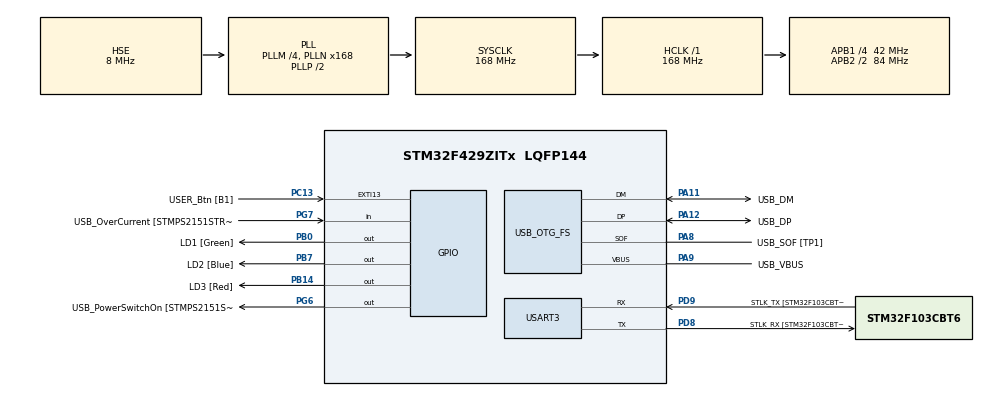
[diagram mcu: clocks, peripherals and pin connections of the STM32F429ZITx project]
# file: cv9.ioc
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Mcu.Family=STM32F4
Mcu.Name=STM32F429ZITx
Mcu.Package=LQFP144
NVIC.OTG_FS_IRQn=true\:0\:0\:false\:false\:true\:false\:true\:true
NVIC.PriorityGroup=NVIC_PRIORITYGROUP_4
PA1.GPIO_Label=RMII_REF_CLK [LAN8742A-CZ-TR_REFCLK0]
PA1.Signal=ETH_REF_CLK
PA10.GPIO_Label=USB_ID
PA10.Signal=USB_OTG_FS_ID
PA11.GPIO_Label=USB_DM
PA11.Mode=Device_Only
PA11.Signal=USB_OTG_FS_DM
PA12.GPIO_Label=USB_DP
PA12.Mode=Device_Only
PA12.Signal=USB_OTG_FS_DP
PA13.GPIO_Label=TMS
PA13.Mode=Serial_Wire
PA13.Signal=SYS_JTMS-SWDIO
PA14.GPIO_Label=TCK
PA14.Mode=Serial_Wire
PA14.Signal=SYS_JTCK-SWCLK
PA2.GPIO_Label=RMII_MDIO [LAN8742A-CZ-TR_MDIO]
PA2.Signal=ETH_MDIO
PA7.GPIO_Label=RMII_CRS_DV [LAN8742A-CZ-TR_CRS_DV]
PA7.Signal=ETH_CRS_DV
PA8.GPIO_Label=USB_SOF [TP1]
PA8.Mode=Activate_SOF_FS
PA8.Signal=USB_OTG_FS_SOF
PA9.GPIO_Label=USB_VBUS
PA9.Mode=Activate_VBUS
PA9.Signal=USB_OTG_FS_VBUS
PB0.GPIO_Label=LD1 [Green]
PB0.Signal=GPIO_Output
PB13.GPIO_Label=RMII_TXD1 [LAN8742A-CZ-TR_TXD1]
PB13.Signal=ETH_TXD1
PB14.GPIO_Label=LD3 [Red]
PB14.Signal=GPIO_Output
PB7.GPIO_Label=LD2 [Blue]
PB7.Signal=GPIO_Output
PC1.GPIO_Label=RMII_MDC [LAN8742A-CZ-TR_MDC]
PC1.Signal=ETH_MDC
PC13.GPIO_Label=USER_Btn [B1]
PC13.GPIO_PuPd=GPIO_NOPULL
PC13.Signal=GPXTI13
PC14/OSC32_IN.Mode=LSE-External-Oscillator
PC14/OSC32_IN.Signal=RCC_OSC32_IN
PC15/OSC32_OUT.Mode=LSE-External-Oscillator
PC15/OSC32_OUT.Signal=RCC_OSC32_OUT
PC4.GPIO_Label=RMII_RXD0 [LAN8742A-CZ-TR_RXD0]
PC4.Signal=ETH_RXD0
PC5.GPIO_Label=RMII_RXD1 [LAN8742A-CZ-TR_RXD1]
PC5.Signal=ETH_RXD1
PD8.GPIO_Label=STLK_RX [STM32F103CBT6_PA3]
PD8.Mode=Asynchronous
PD8.Signal=USART3_TX
PD9.GPIO_Label=STLK_TX [STM32F103CBT6_PA2]
PD9.Mode=Asynchronous
PD9.Signal=USART3_RX
PG11.GPIO_Label=RMII_TX_EN [LAN8742A-CZ-TR_TXEN]
PG11.Signal=ETH_TX_EN
PG13.GPIO_Label=RMII_TXD0 [LAN8742A-CZ-TR_TXD0]
PG13.Signal=ETH_TXD0
PG6.GPIO_Label=USB_PowerSwitchOn [STMPS2151STR_EN]
PG6.Signal=GPIO_Output
PG7.GPIO_Label=USB_OverCurrent [STMPS2151STR_FAULT]
PG7.Signal=GPIO_Input
PH0/OSC_IN.GPIO_Label=MCO [STM32F103CBT6_PA8]
PH0/OSC_IN.Mode=HSE-External-Clock-Source
PH0/OSC_IN.Signal=RCC_OSC_IN
PH1/OSC_OUT.Mode=HSE-External-Clock-Source
PH1/OSC_OUT.Signal=RCC_OSC_OUT
ProjectManager.HeapSize=0x200
ProjectManager.StackSize=0x400
ProjectManager.TargetToolchain=STM32CubeIDE
RCC.48MHZClocksFreq_Value=48000000
RCC.AHBFreq_Value=168000000
RCC.APB1CLKDivider=RCC_HCLK_DIV4
RCC.APB1Freq_Value=42000000
RCC.APB1TimFreq_Value=84000000
RCC.APB2CLKDivider=RCC_HCLK_DIV2
RCC.APB2Freq_Value=84000000
RCC.APB2TimCLKDivider=2
RCC.APB2TimFreq_Value=168000000
RCC.CortexFreq_Value=168000000
RCC.HCLKFreq_Value=168000000
RCC.HSE_VALUE=8000000
RCC.HSI_VALUE=16000000
RCC.PLLM=4
RCC.PLLMUL=RCC_PLL_MUL9
RCC.PLLN=168
RCC.PLLQ=7
RCC.PRESCALERUSB=RCC_USBCLKSOURCE_PLL_DIV1_5
RCC.SYSCLKFreq_VALUE=168000000
RCC.SYSCLKSource=RCC_SYSCLKSOURCE_PLLCLK
RCC.SYSCLKSourceVirtual=RCC_SYSCLKSOURCE_PLLCLK
RCC.USBFreq_Value=48000000
RCC.VCOOutputFreq_Value=336000000
USART3.VirtualMode=VM_ASYNC
USB_DEVICE.CLASS_NAME_FS=HID
USB_DEVICE.VirtualMode-HID_FS=Hid
USB_DEVICE.VirtualModeFS=Hid_FS
USB_OTG_FS.VirtualMode=Device_Only
VP_USB_DEVICE_VS_USB_DEVICE_HID_FS.Mode=HID_FS
board=NUCLEO-F429ZI

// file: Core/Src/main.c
/* USER CODE BEGIN Header */
/**
  ******************************************************************************
  * @file           : main.c
  * @brief          : Main program body
  ******************************************************************************
  * @attention
  *
  * Copyright (c) 2023 STMicroelectronics.
  * All rights reserved.
  *
  * This software is licensed under terms that can be found in the LICENSE file
  * in the root directory of this software component.
  * If no LICENSE file comes with this software, it is provided AS-IS.
  *
  ******************************************************************************
  */
/* USER CODE END Header */
#include "main.h"
#include "usb_device.h"

/* USER CODE BEGIN Includes */
#include "usbd_hid.h"
#include <math.h>
/* USER CODE END Includes */

/* USER CODE BEGIN PD */
#define PI 3.14159265359
/* USER CODE END PD */

UART_HandleTypeDef huart3;

/* USER CODE BEGIN PV */
extern USBD_HandleTypeDef hUsbDeviceFS;
/* USER CODE END PV */

void SystemClock_Config(void);
static void MX_GPIO_Init(void);
static void MX_USART3_UART_Init(void);

/* USER CODE BEGIN 0 */
static uint8_t buff[4];

void sendMouseCommand(int8_t deltaX, int8_t deltaY)
{
  //  uint8_t buff[4];
    buff[0] = 0x01;      // stiskni leve tlacitko
    buff[1] = deltaX;    // posun X
    buff[2] = deltaY;    // posun Y
    buff[3] = 0;         // bez scrollu

    // Poslat report
    USBD_HID_SendReport(&hUsbDeviceFS, buff, sizeof(buff));

    // Pošli report a počkej na následující pohyb
    HAL_Delay(USBD_HID_GetPollingInterval(&hUsbDeviceFS));
}

void clearer (void)
{
	//uint8_t buff[4];
	buff[0] = 0x00;
	buff[1] = (int8_t)(0); // posun X +10
	buff[2] = (int8_t)(0); // posun Y -3
	buff[3] = 0; // bez scrollu
	USBD_HID_SendReport(&hUsbDeviceFS, buff, sizeof(buff));
	HAL_Delay(USBD_HID_GetPollingInterval(&hUsbDeviceFS));
}

void eye(void)
{
	//uint8_t buff[4];

	buff[0] = 0x01;
	buff[1] = (int8_t)(30); // posun X +10
	buff[2] = (int8_t)(-40); // posun Y -3
	buff[3] = 0; // bez scrollu
	USBD_HID_SendReport(&hUsbDeviceFS, buff, sizeof(buff));
	HAL_Delay(USBD_HID_GetPollingInterval(&hUsbDeviceFS));
	uint8_t num_steps;
	num_steps = 10; // Počet kroků pro aproximaci kruhu

	for (int i = 0; i < num_steps; i++)
	{
		// Výpočet úhlu pro aktuální krok
		float angle = 2 * PI * i / num_steps;

		// Výpočet nových souřadnic na kružnici
		int8_t deltaX = (int8_t)(10 * cos(angle)); // Posun X
		int8_t deltaY = (int8_t)(10 * sin(angle)); // Posun Y

		// Poslat příkaz pro pohyb myši na nové souřadnice
		sendMouseCommand(deltaX, deltaY);
	}
}

/* USER CODE END 0 */

int main(void)
{

  /* MCU Configuration--------------------------------------------------------*/

  /* Reset of all peripherals, Initializes the Flash interface and the Systick. */
  HAL_Init();

  /* Configure the system clock */
  SystemClock_Config();

  /* Initialize all configured peripherals */
  MX_GPIO_Init();
  MX_USART3_UART_Init();
  MX_USB_DEVICE_Init();

  /* Infinite loop */
  /* USER CODE BEGIN WHILE */
  while (1)
  {
	  uint8_t buff[4];

	  if (HAL_GPIO_ReadPin(USER_Btn_GPIO_Port, USER_Btn_Pin))
	  {
		  // Nakreslit kruh
		  int num_steps = 100; // Počet kroků pro aproximaci kruhu

              for (int i = 0; i < num_steps; i++)
              {
                  // Výpočet úhlu pro aktuální krok
                  float angle = 2 * PI * i / num_steps;

                  // Výpočet nových souřadnic na kružnici
                  int8_t deltaX = (int8_t)(10 * cos(angle)); // Posun X
                  int8_t deltaY = (int8_t)(10 * sin(angle)); // Posun Y

                  // Poslat příkaz pro pohyb myši na nové souřadnice
                  sendMouseCommand(deltaX, deltaY);

           }

              clearer();

              buff[0] = 0x01;
              buff[1] = (int8_t)(0); // posun X +10
              buff[2] = (int8_t)(50); // posun Y -3
              buff[3] = 0; // bez scrollu
              USBD_HID_SendReport(&hUsbDeviceFS, buff, sizeof(buff));
              HAL_Delay(USBD_HID_GetPollingInterval(&hUsbDeviceFS));

              buff[0] = 0x01;
              buff[1] = (int8_t)(0); // posun X +10
              buff[2] = (int8_t)(30); // posun Y -3
              buff[3] = 0; // bez scrollu
              USBD_HID_SendReport(&hUsbDeviceFS, buff, sizeof(buff));
              HAL_Delay(USBD_HID_GetPollingInterval(&hUsbDeviceFS));

              //pusteni mysi

              clearer();

              //prvni oko

             eye();

              clearer();

              buff[0] = 0x01;
              buff[1] = (int8_t)(-70); // posun X +10
              buff[2] = (int8_t)(0); // posun Y -3
              buff[3] = 0; // bez scrollu
              USBD_HID_SendReport(&hUsbDeviceFS, buff, sizeof(buff));
              HAL_Delay(USBD_HID_GetPollingInterval(&hUsbDeviceFS));

              num_steps = 10; // Počet kroků pro aproximaci kruhu

              for (int i = 0; i < num_steps; i++)
              {
            	  // Výpočet úhlu pro aktuální krok
            	  float angle = 2 * PI * i / num_steps;

            	  // Výpočet nových souřadnic na kružnici
            	  int8_t deltaX = (int8_t)(10 * cos(angle)); // Posun X
            	  int8_t deltaY = (int8_t)(10 * sin(angle)); // Posun Y

            	  // Poslat příkaz pro pohyb myši na nové souřadnice
            	  sendMouseCommand(deltaX, deltaY);
              }

              //pusa
              clearer();

              buff[0] = 0x01;
              buff[1] = (int8_t)(-10); // posun X +10
              buff[2] = (int8_t)(80); // posun Y -3
              buff[3] = 0; // bez scrollu
              USBD_HID_SendReport(&hUsbDeviceFS, buff, sizeof(buff));
              HAL_Delay(USBD_HID_GetPollingInterval(&hUsbDeviceFS));

              num_steps = 50;
              for (int i = 0; i < num_steps/3.5; i++)
              {
            	  // Výpočet úhlu pro aktuální krok
            	  float angle = 2*(PI * i / num_steps)-45;

            	  // Výpočet nových souřadnic na kružnici
            	  int8_t deltaX = (int8_t)(10 * cos(angle)); // Posun X
            	  int8_t deltaY = (int8_t)(10 * -sin(angle)); // Posun Y

            	  // Poslat příkaz pro pohyb myši na nové souřadnice
            	  sendMouseCommand(deltaX, deltaY);
              }
              clearer();
          }
      }
}

void SystemClock_Config(void)
{
  RCC_OscInitTypeDef RCC_OscInitStruct = {0};
  RCC_ClkInitTypeDef RCC_ClkInitStruct = {0};

  /** Configure the main internal regulator output voltage
  */
  __HAL_RCC_PWR_CLK_ENABLE();
  __HAL_PWR_VOLTAGESCALING_CONFIG(PWR_REGULATOR_VOLTAGE_SCALE1);

  /** Initializes the RCC Oscillators according to the specified parameters
  * in the RCC_OscInitTypeDef structure.
  */
  RCC_OscInitStruct.OscillatorType = RCC_OSCILLATORTYPE_HSE;
  RCC_OscInitStruct.HSEState = RCC_HSE_BYPASS;
  RCC_OscInitStruct.PLL.PLLState = RCC_PLL_ON;
  RCC_OscInitStruct.PLL.PLLSource = RCC_PLLSOURCE_HSE;
  RCC_OscInitStruct.PLL.PLLM = 4;
  RCC_OscInitStruct.PLL.PLLN = 168;
  RCC_OscInitStruct.PLL.PLLP = RCC_PLLP_DIV2;
  RCC_OscInitStruct.PLL.PLLQ = 7;
  if (HAL_RCC_OscConfig(&RCC_OscInitStruct) != HAL_OK)
  {
    Error_Handler();
  }

  /** Initializes the CPU, AHB and APB buses clocks
  */
  RCC_ClkInitStruct.ClockType = RCC_CLOCKTYPE_HCLK|RCC_CLOCKTYPE_SYSCLK
                              |RCC_CLOCKTYPE_PCLK1|RCC_CLOCKTYPE_PCLK2;
  RCC_ClkInitStruct.SYSCLKSource = RCC_SYSCLKSOURCE_PLLCLK;
  RCC_ClkInitStruct.AHBCLKDivider = RCC_SYSCLK_DIV1;
  RCC_ClkInitStruct.APB1CLKDivider = RCC_HCLK_DIV4;
  RCC_ClkInitStruct.APB2CLKDivider = RCC_HCLK_DIV2;

  if (HAL_RCC_ClockConfig(&RCC_ClkInitStruct, FLASH_LATENCY_5) != HAL_OK)
  {
    Error_Handler();
  }
}

static void MX_USART3_UART_Init(void)
{

  huart3.Instance = USART3;
  huart3.Init.BaudRate = 115200;
  huart3.Init.WordLength = UART_WORDLENGTH_8B;
  huart3.Init.StopBits = UART_STOPBITS_1;
  huart3.Init.Parity = UART_PARITY_NONE;
  huart3.Init.Mode = UART_MODE_TX_RX;
  huart3.Init.HwFlowCtl = UART_HWCONTROL_NONE;
  huart3.Init.OverSampling = UART_OVERSAMPLING_16;
  if (HAL_UART_Init(&huart3) != HAL_OK)
  {
    Error_Handler();
  }

}

static void MX_GPIO_Init(void)
{
  GPIO_InitTypeDef GPIO_InitStruct = {0};

  /* GPIO Ports Clock Enable */
  __HAL_RCC_GPIOC_CLK_ENABLE();
  __HAL_RCC_GPIOH_CLK_ENABLE();
  __HAL_RCC_GPIOA_CLK_ENABLE();
  __HAL_RCC_GPIOB_CLK_ENABLE();
  __HAL_RCC_GPIOD_CLK_ENABLE();
  __HAL_RCC_GPIOG_CLK_ENABLE();

  /*Configure GPIO pin Output Level */
  HAL_GPIO_WritePin(GPIOB, LD1_Pin|LD3_Pin|LD2_Pin, GPIO_PIN_RESET);

  /*Configure GPIO pin Output Level */
  HAL_GPIO_WritePin(USB_PowerSwitchOn_GPIO_Port, USB_PowerSwitchOn_Pin, GPIO_PIN_RESET);

  /*Configure GPIO pin : USER_Btn_Pin */
  GPIO_InitStruct.Pin = USER_Btn_Pin;
  GPIO_InitStruct.Mode = GPIO_MODE_IT_RISING;
  GPIO_InitStruct.Pull = GPIO_NOPULL;
  HAL_GPIO_Init(USER_Btn_GPIO_Port, &GPIO_InitStruct);

  /*Configure GPIO pins : RMII_MDC_Pin RMII_RXD0_Pin RMII_RXD1_Pin */
  GPIO_InitStruct.Pin = RMII_MDC_Pin|RMII_RXD0_Pin|RMII_RXD1_Pin;
  GPIO_InitStruct.Mode = GPIO_MODE_AF_PP;
  GPIO_InitStruct.Pull = GPIO_NOPULL;
  GPIO_InitStruct.Speed = GPIO_SPEED_FREQ_VERY_HIGH;
  GPIO_InitStruct.Alternate = GPIO_AF11_ETH;
  HAL_GPIO_Init(GPIOC, &GPIO_InitStruct);

  /*Configure GPIO pins : RMII_REF_CLK_Pin RMII_MDIO_Pin RMII_CRS_DV_Pin */
  GPIO_InitStruct.Pin = RMII_REF_CLK_Pin|RMII_MDIO_Pin|RMII_CRS_DV_Pin;
  GPIO_InitStruct.Mode = GPIO_MODE_AF_PP;
  GPIO_InitStruct.Pull = GPIO_NOPULL;
  GPIO_InitStruct.Speed = GPIO_SPEED_FREQ_VERY_HIGH;
  GPIO_InitStruct.Alternate = GPIO_AF11_ETH;
  HAL_GPIO_Init(GPIOA, &GPIO_InitStruct);

  /*Configure GPIO pins : LD1_Pin LD3_Pin LD2_Pin */
  GPIO_InitStruct.Pin = LD1_Pin|LD3_Pin|LD2_Pin;
  GPIO_InitStruct.Mode = GPIO_MODE_OUTPUT_PP;
  GPIO_InitStruct.Pull = GPIO_NOPULL;
  GPIO_InitStruct.Speed = GPIO_SPEED_FREQ_LOW;
  HAL_GPIO_Init(GPIOB, &GPIO_InitStruct);

  /*Configure GPIO pin : RMII_TXD1_Pin */
  GPIO_InitStruct.Pin = RMII_TXD1_Pin;
  GPIO_InitStruct.Mode = GPIO_MODE_AF_PP;
  GPIO_InitStruct.Pull = GPIO_NOPULL;
  GPIO_InitStruct.Speed = GPIO_SPEED_FREQ_VERY_HIGH;
  GPIO_InitStruct.Alternate = GPIO_AF11_ETH;
  HAL_GPIO_Init(RMII_TXD1_GPIO_Port, &GPIO_InitStruct);

  /*Configure GPIO pin : USB_PowerSwitchOn_Pin */
  GPIO_InitStruct.Pin = USB_PowerSwitchOn_Pin;
  GPIO_InitStruct.Mode = GPIO_MODE_OUTPUT_PP;
  GPIO_InitStruct.Pull = GPIO_NOPULL;
  GPIO_InitStruct.Speed = GPIO_SPEED_FREQ_LOW;
  HAL_GPIO_Init(USB_PowerSwitchOn_GPIO_Port, &GPIO_InitStruct);

  /*Configure GPIO pin : USB_OverCurrent_Pin */
  GPIO_InitStruct.Pin = USB_OverCurrent_Pin;
  GPIO_InitStruct.Mode = GPIO_MODE_INPUT;
  GPIO_InitStruct.Pull = GPIO_NOPULL;
  HAL_GPIO_Init(USB_OverCurrent_GPIO_Port, &GPIO_InitStruct);

  /*Configure GPIO pins : RMII_TX_EN_Pin RMII_TXD0_Pin */
  GPIO_InitStruct.Pin = RMII_TX_EN_Pin|RMII_TXD0_Pin;
  GPIO_InitStruct.Mode = GPIO_MODE_AF_PP;
  GPIO_InitStruct.Pull = GPIO_NOPULL;
  GPIO_InitStruct.Speed = GPIO_SPEED_FREQ_VERY_HIGH;
  GPIO_InitStruct.Alternate = GPIO_AF11_ETH;
  HAL_GPIO_Init(GPIOG, &GPIO_InitStruct);

}

void Error_Handler(void)
{
  __disable_irq();
  while (1)
  {
  }
}
